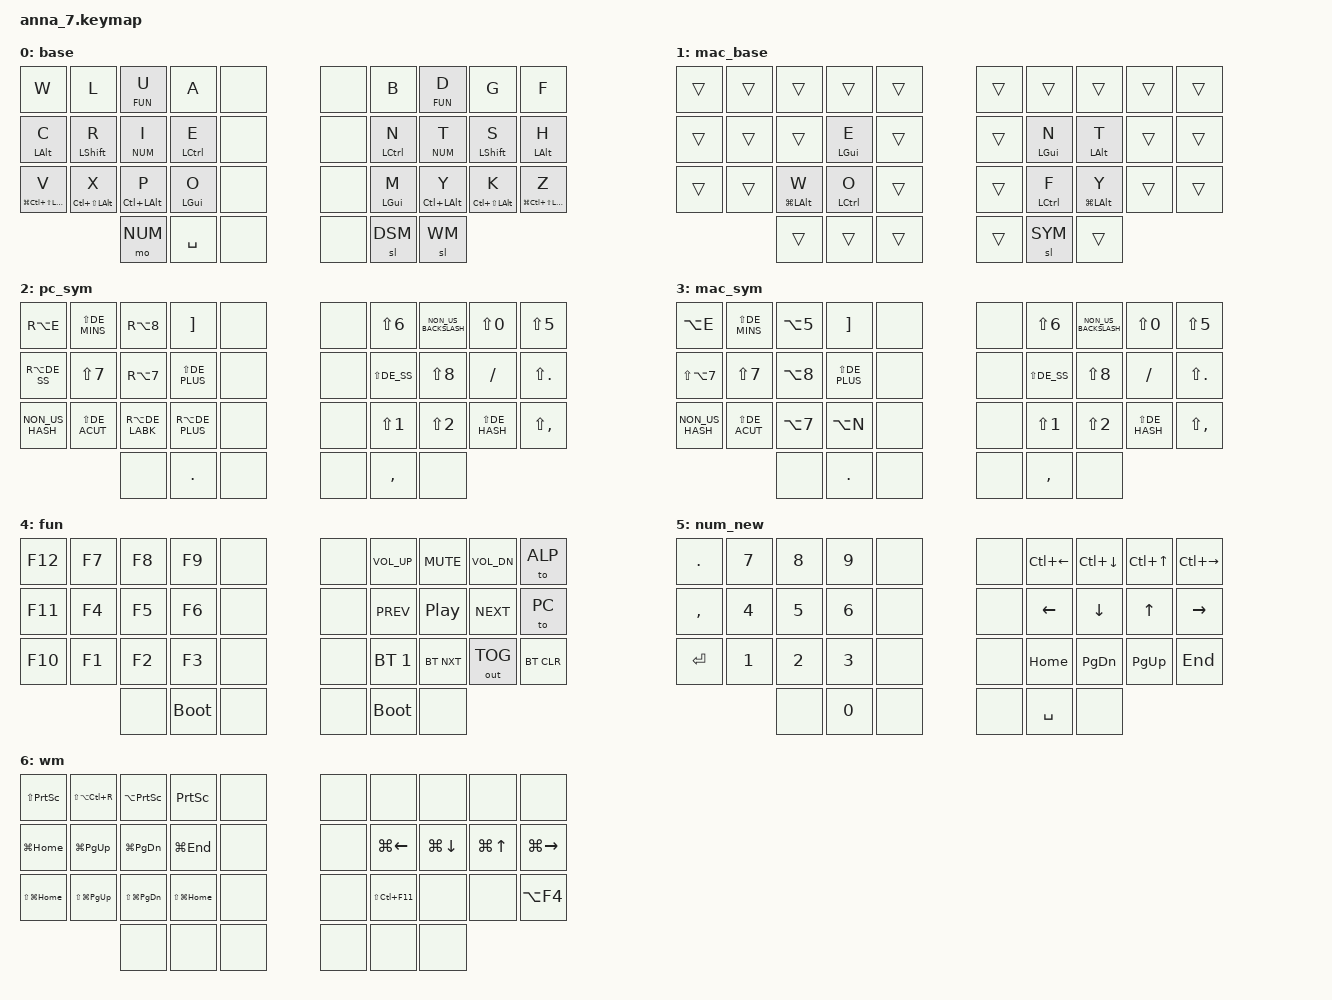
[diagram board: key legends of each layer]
/*
 * Copyright (c) 2021 The ZMK Contributors
 *
 * SPDX-License-Identifier: MIT
 */

#include <behaviors.dtsi>
#include <dt-bindings/zmk/keys.h>
#include <dt-bindings/zmk/bt.h>
#include <dt-bindings/zmk/outputs.h>

/* UNIVERSAL GERMAN KEY CODES */
#define DE_Z    Y             // Z
#define DE_Y    Z             // Y
#define DE_SS   MINUS         // ß


/* MAC GERMAN KEYBOARD CODES */
#define MAC_AT LA(L)           // @
#define MAC_EURO LA(E)         // €
#define MAC_TILD LA(N)         // ~
#define MAC_BSLS LS(LA(NUMBER_7)) // (backslash)
#define MAC_LBRC LA(NUMBER_5)     // [
#define MAC_RBRC LA(NUMBER_6)     // ]
#define MAC_PIPE LA(NUMBER_7)     // |
#define MAC_LCBR LA(NUMBER_8)     // {
#define MAC_RCBR LA(NUMBER_9)     // }

/* DIN GERMAN KEYBOARD CODES */
#define DE_CIRC GRAVE // ^ (dead)
#define DE_ACUT EQUAL // ´ (dead)
#define DE_UNDS LS(DE_MINS) // _
#define DE_UDIA LEFT_BRACKET // Ü
#define DE_PLUS RIGHT_BRACKET // +
#define DE_ODIA SEMICOLON    // Ö
#define DE_ADIA SINGLE_QUOTE // Ä
#define DE_HASH NON_US_HASH  // #
#define DE_LABK NON_US_BACKSLASH // <
#define DE_EXLM LS(NUMBER_1)    // !
#define DE_DQUO LS(NUMBER_2)    // "
#define DE_SECT LS(NUMBER_3)    // §
#define DE_DLR  LS(NUMBER_4)    // $
#define DE_PERC LS(NUMBER_5)    // %
#define DE_AMPR LS(NUMBER_6)    // &
#define DE_SLSH LS(NUMBER_7)    // /
#define DE_LPRN LS(NUMBER_8)    // (
#define DE_RPRN LS(NUMBER_9)    // )
#define DE_EQL  LS(NUMBER_0)    // =
#define DE_MINS SLASH            // -
#define DE_DEG  LS(DE_CIRC) // °
#define DE_QUES LS(DE_SS)   // ?
#define DE_GRV  LS(DE_ACUT) // ` (dead)
#define DE_ASTR LS(DE_PLUS) // *
#define DE_QUOT LS(DE_HASH) // '
#define DE_RABK LS(DE_LABK) // >
#define DE_SCLN LS(COMMA) // ;
#define DE_COLN LS(PERIOD)  // :

#define DE_AT RA(Q)           // @
#define DE_EURO RA(E)         // €
#define DE_TILD RA(DE_PLUS)         // ~
#define DE_BSLS RA(DE_SS) // (backslash)
#define DE_LBRC RA(NUMBER_8)     // [
#define DE_RBRC RA(NUMBER_9)     // ]
#define DE_PIPE RA(DE_LABK)     // |
#define DE_LCBR RA(NUMBER_7)     // {
#define DE_RCBR RA(NUMBER_0)     // }


#define _____ &none

#define ALP 1
#define PC  0
#define SYM 3
#define DSM 2
#define FUN 4
#define NUM 5
#define WM 6

#define DE_UE DE_UDIA
#define DE_AE DE_ADIA
#define DE_OE DE_ODIA

#define HYP LG(LC(LS(LALT)))
#define MEH LC(LS(LALT))
#define DUH LC(LALT)
#define UGH LG(LALT)

&caps_word {
    continue-list = <DE_UNDS DE_MINS BACKSPACE DELETE>;
};

&mt {
  quick-tap-ms = <125>;
  global-quick-tap;
  flavor = "tap-preferred";
  tapping-term-ms = <250>;
};

&lt {
  quick-tap-ms = <125>;
  global-quick-tap;
};

&sk {
    quick-release;
};

&sl {
    quick-release;
};

/{
    combos {
        compatible = "zmk,combos";

        combo_bsp {
            timeout-ms = <10>;
            key-positions = <7 8>;
            bindings = <&kp BACKSPACE>;
            layers = <0 1>;
        };

        combo_del {
            timeout-ms = <10>;
            key-positions = <27 28>;
            bindings = <&kp DELETE>;
            layers = <0 1>;
        };

        combo_enter {
            timeout-ms = <10>;
            key-positions = <17 18>;
            bindings = <&kp ENTER>;
            layers = <0 1>;
        };

        combo_esc {
            timeout-ms = <10>;
            key-positions = <1 2>;
            bindings = <&kp ESCAPE>;
            layers = <0 1>;
        };

        combo_tab {
            timeout-ms = <10>;
            key-positions = <11 12>;
            bindings = <&kp TAB>;
            layers = <0 1>;
        };

        combo_caps {
            timeout-ms = <10>;
            key-positions = <21 22>;
            bindings = <&caps_word>;
            layers = <0 1>;
        };


        shift_sk_l {
            timeout-ms = <10>;
            key-positions = <11 12 13>;
            bindings = <&sk LSHFT>;
            layers = <0 1>;
        };

        shift_sk_r {
            timeout-ms = <10>;
            key-positions = <16 17 18>;
            bindings = <&sk LSHFT>;
            layers = <0 1>;
        };

        ae {
            timeout-ms = <10>;
            key-positions = <2 3>;
            bindings = <&kp DE_AE>;
            layers = <0 1>;
        };

        p {
            timeout-ms = <10>;
            key-positions = <12 13>;
            bindings = <&kp DE_OE>;
            layers = <0 1>;
        };

        oe {
            timeout-ms = <10>;
            key-positions = <22 23>;
            bindings = <&kp DE_UE>;
            layers = <0 1>;
        };

        m {
            timeout-ms = <10>;
            key-positions = <16 17>;
            bindings = <&kp Q>;
            layers = <0 1>;
        };   
        
        w {
            timeout-ms = <10>;
            key-positions = <26 27>;
            bindings = <&kp J>;
            layers = <0 1>;
        };


        ue {
            timeout-ms = <10>;
            key-positions = <6 7>;
            bindings = <&kp DE_SS>;
            layers = <0 1>;
        };

        rbrc {
            timeout-ms = <10>;
            key-positions = <2 3>;
            bindings = <&kp DE_RBRC>;
            layers = <2>;
        };

        rbrc_mac {
            timeout-ms = <10>;
            key-positions = <2 3>;
            bindings = <&kp MAC_RBRC>;
            layers = <3>;
        };

        rcbr {
            timeout-ms = <10>;
            key-positions = <12 13>;
            bindings = <&kp DE_RCBR>;
            layers = <2>;
        };

        rcbr_mac {
            timeout-ms = <10>;
            key-positions = <12 13>;
            bindings = <&kp MAC_RCBR>;
            layers = <3>;
        };

        rabk{
            timeout-ms = <10>;
            key-positions = <6 7>;
            bindings = <&kp DE_RABK>;
            layers = <2 3>;
        };

        rprn {
            timeout-ms = <10>;
            key-positions = <16 17>;
            bindings = <&kp DE_RPRN>;
            layers = <2 3>;
        };

        at {
            timeout-ms = <10>;
            key-positions = <11 12>;
            bindings = <&kp DE_AT>;
            layers = <2>;
        };

        at_mac {
            timeout-ms = <10>;
            key-positions = <11 12>;
            bindings = <&kp MAC_AT>;
            layers = <2>;
        };

        deg {
            timeout-ms = <10>;
            key-positions = <1 2>;
            bindings = <&kp DE_DEG>;
            layers = <2 3>;
        };

        circ {
            timeout-ms = <10>;
            key-positions = <7 8>;
            bindings = <&kp DE_CIRC>;
            layers = <2 3>;
        };

        dlr {
            timeout-ms = <10>;
            key-positions = <17 18>;
            bindings = <&kp DE_DLR>;
            layers = <2 3>;
        };


        num_times {
            timeout-ms = <10>;
            key-positions = <2 3>;
            bindings = <&kp LS(RIGHT_BRACKET)>;
            layers = <5>;
        };

        num_div {
            timeout-ms = <10>;
            key-positions = <1 2>;
            bindings = <&kp LS(NUMBER_7)>;
            layers = <5>;
        };

        num_plus {
            timeout-ms = <10>;
            key-positions = <12 13>;
            bindings = <&kp RIGHT_BRACKET>;
            layers = <5>;
        };


        num_ent {
            timeout-ms = <10>;
            key-positions = <22 23>;
            bindings = <&kp ENTER>;
            layers = <5>;
        };

        num_back {
            timeout-ms = <10>;
            key-positions = <21 22>;
            bindings = <&kp BACKSPACE>;
            layers = <5>;
        };
        
        num_mins {
            timeout-ms = <10>;
            key-positions = <11 12>;
            bindings = <&kp SLASH>;
            layers = <5>;
        };
    };


  keymap {
    compatible = "zmk,keymap";

    base {
      bindings = <
        &kp W      &kp L         &lt FUN U     &kp A       _____ _____ &kp B       &lt FUN D    &kp G        &kp F
        &mt LALT C &mt LSHIFT R  &lt NUM I     &mt LCTRL E _____ _____ &mt LCTRL N &lt NUM T    &mt LSHIFT S &mt LALT H
        &mt HYP V  &mt MEH X     &mt DUH P     &mt LGUI O  _____ _____ &mt LGUI M  &mt DUH DE_Z &mt MEH K    &mt HYP DE_Y
                                 &mo NUM       &kp SPACE   _____ _____ &sl DSM     &sl WM
      >;
    };

    mac_base {
      bindings = <
        &trans &trans &trans        &trans      &trans &trans &trans      &trans       &trans &trans
        &trans &trans &trans        &mt LGUI E  &trans &trans &mt LGUI N  &mt LALT T   &trans &trans
        &trans &trans &mt UGH W     &mt LCTRL O &trans &trans &mt LCTRL F &mt UGH DE_Z &trans &trans
                      &trans        &trans      &trans &trans &sl SYM     &trans
      >;
    };

    pc_sym {
      bindings = <
        &kp DE_EURO  &kp DE_UNDS &kp DE_LBRC &kp DE_PLUS _____ _____ &kp DE_AMPR &kp DE_LABK &kp DE_EQL  &kp DE_PERC
        &kp DE_BSLS  &kp DE_SLSH &kp DE_LCBR &kp DE_ASTR _____ _____ &kp DE_QUES &kp DE_LPRN &kp DE_MINS &kp DE_COLN
        &kp DE_HASH  &kp DE_GRV  &kp DE_PIPE &kp DE_TILD _____ _____ &kp DE_EXLM &kp DE_DQUO &kp DE_QUOT &kp DE_SCLN
                                 _____       &kp PERIOD  _____ _____ &kp COMMA   _____
      >;
    };

    mac_sym {
      bindings = <
        &kp MAC_EURO &kp DE_UNDS &kp MAC_LBRC &kp DE_PLUS  _____ _____ &kp DE_AMPR &kp DE_LABK &kp DE_EQL  &kp DE_PERC
        &kp MAC_BSLS &kp DE_SLSH &kp MAC_LCBR &kp DE_ASTR  _____ _____ &kp DE_QUES &kp DE_LPRN &kp DE_MINS &kp DE_COLN
        &kp DE_HASH  &kp DE_GRV  &kp MAC_PIPE &kp MAC_TILD _____ _____ &kp DE_EXLM &kp DE_DQUO &kp DE_QUOT &kp DE_SCLN
                                 _____        &kp PERIOD   _____ _____ &kp COMMA   _____
      >;
    };



    fun {
      bindings = <
        &kp F12 &kp F7 &kp F8 &kp F9      _____ _____ &kp C_VOL_UP &kp C_MUTE       &kp C_VOL_DN &to ALP
        &kp F11 &kp F4 &kp F5 &kp F6      _____ _____ &kp C_PREV   &kp C_PLAY_PAUSE &kp C_NEXT   &to PC
        &kp F10 &kp F1 &kp F2 &kp F3      _____ _____ &bt BT_SEL 1 &bt BT_NXT       &out OUT_TOG &bt BT_CLR
                       _____  &bootloader _____ _____ &bootloader  _____
      
      >;
    };

    num_new {
      bindings = <
        &kp DOT    &kp N7 &kp N8 &kp N9 _____ _____ &kp LC(LEFT) &kp LC(DOWN) &kp LC(UP) &kp LC(RIGHT)
        &kp COMMA  &kp N4 &kp N5 &kp N6 _____ _____ &kp LEFT     &kp DOWN     &kp UP     &kp RIGHT
        &kp ENTER  &kp N1 &kp N2 &kp N3 _____ _____ &kp HOME     &kp PG_DN    &kp PG_UP  &kp END
                           _____ &kp N0 _____ _____ &kp SPACE    _____
      >;
    };
    
    wm {
      bindings = <
        &kp LS(PSCRN)    &kp LS(LA(LC(R))) &kp LA(PSCRN)     &kp PSCRN        _____ _____ _____           _____        _____      _____
        &kp LG(HOME)     &kp LG(PG_UP)     &kp LG(PG_DN)     &kp LG(END)     _____ _____ &kp LG(LEFT)    &kp LG(DOWN) &kp LG(UP) &kp LG(RIGHT)
        &kp LS(LG(HOME)) &kp LS(LG(PG_UP)) &kp LS(LG(PG_DN)) &kp LS(LG(HOME)) _____ _____ &kp LS(LC(F11)) _____        _____      &kp LA(F4)
                                           _____             _____            _____ _____ _____           _____
      >;
    };
  };
};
